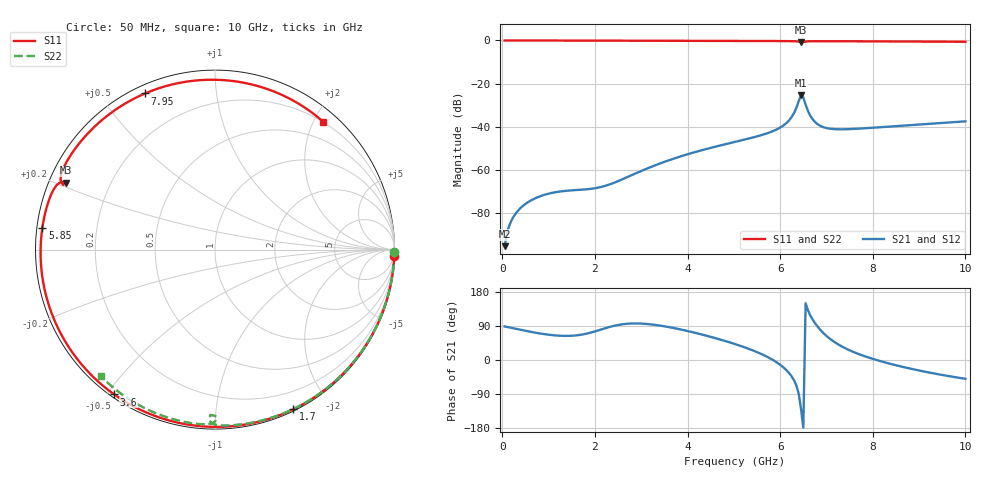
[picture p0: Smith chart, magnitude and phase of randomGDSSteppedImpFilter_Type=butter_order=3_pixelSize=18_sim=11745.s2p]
! freq	dB(S11)	phase(S11)	dB(S12)	phase(S12)
!  dB(S21)	phase(S21)	dB(S22)	phase(S22)
!S-par simulation data
#  GHz  S  DB  R 50
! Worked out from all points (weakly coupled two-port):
!   200 points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, 50 MHz to 10 GHz, reference 50 ohm
!   highest |S21| = -25.33 dB at 6.45 GHz (marker M1); lowest = -95.4 dB at 50 MHz (marker M2)
!   lowest |S11| = -0.8 dB at 6.45 GHz (marker M3), VSWR 21.01, Z = 2.49 + j10.7 ohm
!   |S11| at or under -10 dB: nowhere
!   |S22| runs from -0.7 to 0.0 dB; largest |S21 - S12| = 0
!   S11 on the Smith chart (normalised r, x): 50 MHz: 0, -58; 1.7 GHz: 0.02, -1.60; 3.6 GHz: 0.01, -0.52; 5.85 GHz: 0.02, +0.06; 7.95 GHz: 0.03, +0.65; 10 GHz: 0.20, +2.15
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0.05  -0.00 -2.0  -95.35 88.6  -95.35 88.6  -0.00 -0.8
0.3  -0.02 -11.7  -79.94 82.0  -79.94 82.0  -0.01 -4.6
0.55  -0.03 -21.4  -75.03 75.8  -75.03 75.8  -0.01 -8.4
0.9  -0.04 -34.7  -71.61 68.4  -71.61 68.4  -0.02 -13.7
1.7  -0.08 -63.9  -69.19 66.6  -69.19 66.6  -0.03 -25.6
1.75  -0.08 -65.7  -69.12 67.7  -69.12 67.7  -0.03 -26.4
2.55  -0.11 -92.6  -64.75 93.5  -64.75 93.5  -0.05 -38.1
3.4  -0.14 -118.9  -57.06 90.9  -57.06 90.9  -0.07 -50.2
3.6  -0.15 -124.8  -55.52 86.8  -55.52 86.8  -0.07 -53.0
5.05  -0.22 -165.5  -46.88 41.1  -46.88 41.1  -0.11 -72.7
5.85  -0.27 172.7  -41.98 -0.3  -41.98 -0.3  -0.14 -83.2
6.2  -0.31 162.8  -36.86 -35.5  -36.86 -35.5  -0.18 -88.1
6.3  -0.36 159.7  -33.63 -53.6  -33.63 -53.6  -0.22 -89.8
6.45  -0.83 155.8  -25.33 -128.4  -25.33 -128.4  -0.72 -91.6
6.5  -0.72 157.0  -26.37 -178.6  -26.37 -178.6  -0.64 -89.5
6.6  -0.41 154.0  -32.68 131.2  -32.68 131.2  -0.29 -90.8
6.7  -0.36 150.7  -36.50 107.1  -36.50 107.1  -0.23 -92.6
7.05  -0.35 140.4  -40.83 58.4  -40.83 58.4  -0.21 -97.4
7.95  -0.42 114.1  -40.54 4.9  -40.54 4.9  -0.26 -108.3
8.35  -0.45 102.0  -39.95 -9.2  -39.95 -9.2  -0.29 -113.1
9.15  -0.52 77.0  -38.79 -31.4  -38.79 -31.4  -0.36 -122.3
10  -0.60 49.7  -37.48 -49.6  -37.48 -49.6  -0.45 -132.0
